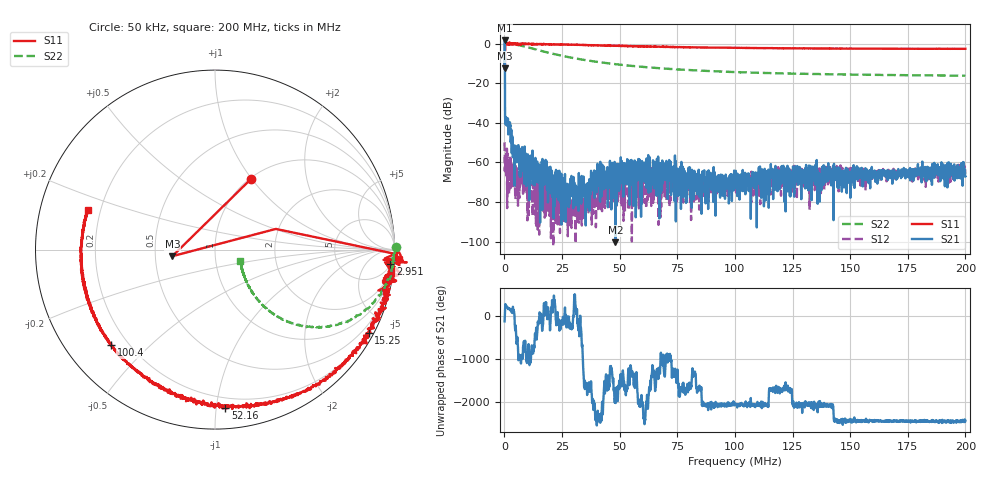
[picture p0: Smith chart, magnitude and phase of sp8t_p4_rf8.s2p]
! 26-Feb-26 12:06:46 PM
! E:\VNA_MEASUREMENTS\SP8T\SP8T_P4_RF8.S2P
! CHANNEL.1
! TR.MEASUREMENT
! CORRECTED.DATA
# GHZ S RI R 50.0
! FREQ.GHZ  S11RE  S11IM  S21RE  S21IM  S12RE  S12IM  S22RE  S22IM
!; PortSelection: Port_12
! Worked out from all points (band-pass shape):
!   2000 points, 50 kHz to 200 MHz, reference 50 ohm
!   highest |S21| = 1.63 dB at 150 kHz (marker M1); lowest = -100.4 dB at 48.16 MHz (marker M2)
!   |S21| within 3 dB of the highest: 129 kHz to 157.8 kHz (28.82 kHz wide, 20.1 % of centre)
!   lowest |S11| = -12.4 dB at 150 kHz (marker M3), VSWR 1.63, Z = 30.7 - j2.4 ohm
!   |S11| at or under -10 dB: 105.1 kHz to 218.9 kHz (113.8 kHz wide, 70.3 % of centre)
!   |S22| runs from -16.2 to 0.1 dB; largest |S21 - S12| = 1.2
!   S11 on the Smith chart (normalised r, x): 50 kHz: 1.01, +0.99; 2.951 MHz: 5, -23; 15.25 MHz: 0.22, -3.95; 52.16 MHz: 0.13, -1.06; 100.4 MHz: 0.14, -0.38; 200 MHz: 0.15, +0.15
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5e-05  0.2011 0.394  -0.1195 -0.1998  -0.000372 0.00322  1.008 0.0147
0.000150025  -0.2376 -0.0368  1.201 -0.1052  0.000562 -0.000233  1.003 0.0037
0.0012503  0.9476 -0.0482  -0.0112 -0.00683  0.000829 6.46e-05  0.994 -0.0787
0.002950725  0.9766 -0.0819  -0.00336 0.00581  0.000167 0.000199  0.9555 -0.1763
0.004651151  0.9699 -0.1487  0.000848 0.000465  -0.000133 5.28e-05  0.9147 -0.2625
0.0152538  0.8572 -0.4625  3.08e-05 0.000801  1.42e-05 3.17e-05  0.5182 -0.4291
0.02575643  0.6523 -0.7001  6.33e-05 -2.62e-05  -4.02e-05 -0.000142  0.3244 -0.3565
0.03345835  0.4721 -0.7977  -0.000454 -5.44e-05  -2.78e-05 -9.8e-06  0.2601 -0.3033
0.03615903  0.4098 -0.823  -7.98e-05 0.000282  -0.000163 1.25e-05  0.2443 -0.2867
0.03995998  0.3139 -0.8488  -3.17e-05 0.000174  -7.12e-05 -8.45e-05  0.2268 -0.2653
0.04816203  0.1309 -0.8816  -7.5e-06 5.9e-06  2.17e-05 0.000174  0.2011 -0.2263
0.05216303  0.0576 -0.8814  -0.000306 0.000259  -0.000222 -4.55e-05  0.192 -0.2119
0.06676668  -0.2187 -0.8176  0.000398 -0.000156  9.47e-05 0.000535  0.1717 -0.1693
0.06946736  -0.252 -0.7931  0.000353 0.000392  -0.000221 0.000212  0.1688 -0.1639
0.07476868  -0.3206 -0.7545  0.000381 0.000257  -6.1e-05 0.000392  0.1651 -0.1529
0.07726931  -0.3529 -0.7344  -0.00026 0.000501  2.54e-05 0.000304  0.1627 -0.1484
0.09417354  -0.5302 -0.588  5.38e-05 0.000169  4.56e-05 0.000315  0.154 -0.1226
0.100075  -0.5776 -0.5385  -0.000346 0.00034  -4.6e-05 0.000218  0.1526 -0.1166
0.1003751  -0.5774 -0.532  3.02e-05 0.000615  -2.37e-05 0.000328  0.1524 -0.1167
0.1333833  -0.7174 -0.2456  -0.000397 0.000166  -7.5e-06 0.00037  0.1468 -0.0899
0.1666917  -0.7465 0.00971  0.000208 0.000343  0.000196 0.000622  0.144 -0.0737
0.2  -0.708 0.2203  2.08e-05 0.000443  6.15e-05 0.000509  0.1418 -0.0626
